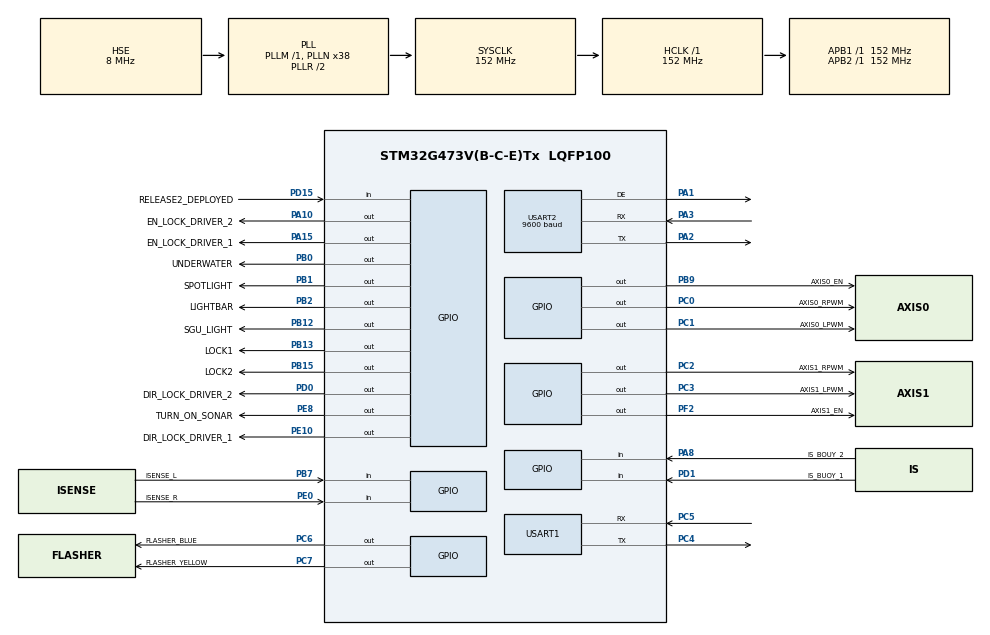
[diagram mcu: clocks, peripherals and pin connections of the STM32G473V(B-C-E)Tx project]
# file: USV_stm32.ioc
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IWDG.Prescaler=IWDG_PRESCALER_32
IWDG.Reload=999
Mcu.Family=STM32G4
Mcu.Name=STM32G473V(B-C-E)Tx
Mcu.Package=LQFP100
NVIC.PriorityGroup=NVIC_PRIORITYGROUP_4
NVIC.USART1_IRQn=true\:0\:0\:false\:false\:true\:true\:true\:true
NVIC.USART2_IRQn=true\:0\:0\:false\:false\:true\:true\:true\:true
PA1.Mode=Hardware Flow Control (RS485)
PA1.Signal=USART2_DE
PA10.GPIO_Label=EN_LOCK_DRIVER_2
PA10.Signal=GPIO_Output
PA15.GPIO_Label=EN_LOCK_DRIVER_1
PA15.GPIO_PuPd=GPIO_NOPULL
PA15.Signal=GPIO_Output
PA2.Mode=Asynchronous
PA2.Signal=USART2_TX
PA3.Mode=Asynchronous
PA3.Signal=USART2_RX
PA8.GPIO_Label=IS_BOUY_2
PA8.Signal=GPIO_Input
PB0.GPIO_Label=UNDERWATER
PB0.Signal=GPIO_Output
PB1.GPIO_Label=SPOTLIGHT
PB1.Signal=GPIO_Output
PB12.GPIO_Label=SGU_LIGHT
PB12.Signal=GPIO_Output
PB13.GPIO_Label=LOCK1
PB13.Signal=GPIO_Output
PB15.GPIO_Label=LOCK2
PB15.Signal=GPIO_Output
PB2.GPIO_Label=LIGHTBAR
PB2.Signal=GPIO_Output
PB7.GPIO_Label=ISENSE_L
PB7.GPIO_PuPd=GPIO_PULLUP
PB7.Signal=GPIO_Input
PB9.GPIO_Label=AXIS0_EN
PB9.Signal=GPIO_Output
PC0.GPIO_Label=AXIS0_RPWM
PC0.Signal=GPIO_Output
PC1.GPIO_Label=AXIS0_LPWM
PC1.Signal=GPIO_Output
PC2.GPIO_Label=AXIS1_RPWM
PC2.Signal=GPIO_Output
PC3.GPIO_Label=AXIS1_LPWM
PC3.Signal=GPIO_Output
PC4.Mode=Asynchronous
PC4.Signal=USART1_TX
PC5.Mode=Asynchronous
PC5.Signal=USART1_RX
PC6.GPIO_Label=FLASHER_BLUE
PC6.Signal=GPIO_Output
PC7.GPIO_Label=FLASHER_YELLOW
PC7.Signal=GPIO_Output
PD0.GPIO_Label=DIR_LOCK_DRIVER_2
PD0.Signal=GPIO_Output
PD1.GPIO_Label=IS_BUOY_1
PD1.GPIO_PuPd=GPIO_PULLUP
PD1.Signal=GPIO_Input
PD15.GPIO_Label=RELEASE2_DEPLOYED
PD15.GPIO_PuPd=GPIO_PULLUP
PD15.Signal=GPIO_Input
PE0.GPIO_Label=ISENSE_R 
PE0.GPIO_PuPd=GPIO_PULLUP
PE0.Signal=GPIO_Input
PE10.GPIO_Label=DIR_LOCK_DRIVER_1
PE10.Signal=GPIO_Output
PE8.GPIO_Label=TURN_ON_SONAR
PE8.GPIO_PuPd=GPIO_NOPULL
PE8.Signal=GPIO_Output
PF0-OSC_IN.Mode=HSE-External-Oscillator
PF0-OSC_IN.Signal=RCC_OSC_IN
PF1-OSC_OUT.Mode=HSE-External-Oscillator
PF1-OSC_OUT.Signal=RCC_OSC_OUT
PF2.GPIO_Label=AXIS1_EN
PF2.GPIO_PuPd=GPIO_NOPULL
PF2.Signal=GPIO_Output
ProjectManager.HeapSize=0x200
ProjectManager.StackSize=0x400
ProjectManager.TargetToolchain=STM32CubeIDE
RCC.ADC12Freq_Value=152000000
RCC.ADC345Freq_Value=152000000
RCC.AHBFreq_Value=152000000
RCC.APB1Freq_Value=152000000
RCC.APB1TimFreq_Value=152000000
RCC.APB2Freq_Value=152000000
RCC.APB2TimFreq_Value=152000000
RCC.CortexFreq_Value=152000000
RCC.EXTERNAL_CLOCK_VALUE=12288000
RCC.HCLKFreq_Value=152000000
RCC.HSE_VALUE=8000000
RCC.HSI48_VALUE=48000000
RCC.HSI_VALUE=16000000
RCC.LSE_VALUE=32768
RCC.PLLN=38
RCC.PLLSourceVirtual=RCC_PLLSOURCE_HSE
RCC.SYSCLKFreq_VALUE=152000000
RCC.SYSCLKSource=RCC_SYSCLKSOURCE_PLLCLK
RCC.USBFreq_Value=152000000
RCC.VCOOutputFreq_Value=304000000
USART1.Parity=PARITY_EVEN
USART1.VirtualMode-Asynchronous=VM_ASYNC
USART1.WordLength=WORDLENGTH_9B
USART2.BaudRate=9600
USART2.VirtualMode-Asynchronous=VM_ASYNC
USART2.VirtualMode-Hardware\ Flow\ Control\ (RS485)=VM_ASYNC
VP_IWDG_VS_IWDG.Mode=IWDG_Activate
VP_SYS_VS_DBSignals.Mode=DisableDeadBatterySignals
board=custom

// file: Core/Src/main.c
/* USER CODE BEGIN Header */
/**
  ******************************************************************************
  * @file           : main.c
  * @brief          : Main program body
  ******************************************************************************
  * @attention
  *
  * Copyright (c) 2026 STMicroelectronics.
  * All rights reserved.
  *
  * This software is licensed under terms that can be found in the LICENSE file
  * in the root directory of this software component.
  * If no LICENSE file comes with this software, it is provided AS-IS.
  *
  ******************************************************************************
  */
/* USER CODE END Header */
#include "main.h"

/* USER CODE BEGIN Includes */
#include "selftest.h"
#include "regfile.h"
#include "fw_update.h"
#include "uart_link.h"
#include "command.h"
#include "inputs.h"
#include "outputs.h"
#include "axis.h"
#include "sched.h"
#include "wdg.h"
#include "release.h"
/* USER CODE END Includes */

IWDG_HandleTypeDef hiwdg;

UART_HandleTypeDef huart1;
UART_HandleTypeDef huart2;

void SystemClock_Config(void);
static void MX_GPIO_Init(void);
static void MX_USART1_UART_Init(void);
static void MX_USART2_UART_Init(void);
static void MX_IWDG_Init(void);

int main(void)
{

  /* MCU Configuration--------------------------------------------------------*/

  /* Reset of all peripherals, Initializes the Flash interface and the Systick. */
  HAL_Init();

  /* Configure the system clock */
  SystemClock_Config();

  /* Initialize all configured peripherals */
  MX_GPIO_Init();
  MX_USART1_UART_Init();
  MX_USART2_UART_Init();
  /* USER CODE BEGIN 2 */
  HAL_Delay(200);                     /* дать терминалу подхватить линию */
  st_puts("USV board1 boot\r\n");
  release_init();
  axis_init();
  regfile_init();
  (void)selftest_run();
  uart_link_init();
  enc_link_init();
  command_init();
  inputs_init();
  outputs_init();
  fw_update_init(HAL_GetTick());
  sched_init();
  wdg_init();
  MX_IWDG_Init();

  /* USER CODE END 2 */

  /* Infinite loop */
  while (1)
  {

    /* USER CODE BEGIN 3 */
    sched_step();
  }
  /* USER CODE END 3 */
}

void SystemClock_Config(void)
{
  RCC_OscInitTypeDef RCC_OscInitStruct = {0};
  RCC_ClkInitTypeDef RCC_ClkInitStruct = {0};

  /** Configure the main internal regulator output voltage
  */
  HAL_PWREx_ControlVoltageScaling(PWR_REGULATOR_VOLTAGE_SCALE1_BOOST);

  /** Initializes the RCC Oscillators according to the specified parameters
  * in the RCC_OscInitTypeDef structure.
  */
  RCC_OscInitStruct.OscillatorType = RCC_OSCILLATORTYPE_LSI|RCC_OSCILLATORTYPE_HSE;
  RCC_OscInitStruct.HSEState = RCC_HSE_ON;
  RCC_OscInitStruct.LSIState = RCC_LSI_ON;
  RCC_OscInitStruct.PLL.PLLState = RCC_PLL_ON;
  RCC_OscInitStruct.PLL.PLLSource = RCC_PLLSOURCE_HSE;
  RCC_OscInitStruct.PLL.PLLM = RCC_PLLM_DIV1;
  RCC_OscInitStruct.PLL.PLLN = 38;
  RCC_OscInitStruct.PLL.PLLP = RCC_PLLP_DIV2;
  RCC_OscInitStruct.PLL.PLLQ = RCC_PLLQ_DIV2;
  RCC_OscInitStruct.PLL.PLLR = RCC_PLLR_DIV2;
  if (HAL_RCC_OscConfig(&RCC_OscInitStruct) != HAL_OK)
  {
    Error_Handler();
  }

  /** Initializes the CPU, AHB and APB buses clocks
  */
  RCC_ClkInitStruct.ClockType = RCC_CLOCKTYPE_HCLK|RCC_CLOCKTYPE_SYSCLK
                              |RCC_CLOCKTYPE_PCLK1|RCC_CLOCKTYPE_PCLK2;
  RCC_ClkInitStruct.SYSCLKSource = RCC_SYSCLKSOURCE_PLLCLK;
  RCC_ClkInitStruct.AHBCLKDivider = RCC_SYSCLK_DIV1;
  RCC_ClkInitStruct.APB1CLKDivider = RCC_HCLK_DIV1;
  RCC_ClkInitStruct.APB2CLKDivider = RCC_HCLK_DIV1;

  if (HAL_RCC_ClockConfig(&RCC_ClkInitStruct, FLASH_LATENCY_4) != HAL_OK)
  {
    Error_Handler();
  }
}

static void MX_IWDG_Init(void)
{

  hiwdg.Instance = IWDG;
  hiwdg.Init.Prescaler = IWDG_PRESCALER_32;
  hiwdg.Init.Window = 4095;
  hiwdg.Init.Reload = 999;
  if (HAL_IWDG_Init(&hiwdg) != HAL_OK)
  {
    Error_Handler();
  }

}

static void MX_USART1_UART_Init(void)
{

  huart1.Instance = USART1;
  huart1.Init.BaudRate = 115200;
  huart1.Init.WordLength = UART_WORDLENGTH_9B;
  huart1.Init.StopBits = UART_STOPBITS_1;
  huart1.Init.Parity = UART_PARITY_EVEN;
  huart1.Init.Mode = UART_MODE_TX_RX;
  huart1.Init.HwFlowCtl = UART_HWCONTROL_NONE;
  huart1.Init.OverSampling = UART_OVERSAMPLING_16;
  huart1.Init.OneBitSampling = UART_ONE_BIT_SAMPLE_DISABLE;
  huart1.Init.ClockPrescaler = UART_PRESCALER_DIV1;
  huart1.AdvancedInit.AdvFeatureInit = UART_ADVFEATURE_NO_INIT;
  if (HAL_UART_Init(&huart1) != HAL_OK)
  {
    Error_Handler();
  }
  if (HAL_UARTEx_SetTxFifoThreshold(&huart1, UART_TXFIFO_THRESHOLD_1_8) != HAL_OK)
  {
    Error_Handler();
  }
  if (HAL_UARTEx_SetRxFifoThreshold(&huart1, UART_RXFIFO_THRESHOLD_1_8) != HAL_OK)
  {
    Error_Handler();
  }
  if (HAL_UARTEx_DisableFifoMode(&huart1) != HAL_OK)
  {
    Error_Handler();
  }

}

static void MX_USART2_UART_Init(void)
{

  huart2.Instance = USART2;
  huart2.Init.BaudRate = 9600;
  huart2.Init.WordLength = UART_WORDLENGTH_8B;
  huart2.Init.StopBits = UART_STOPBITS_1;
  huart2.Init.Parity = UART_PARITY_NONE;
  huart2.Init.Mode = UART_MODE_TX_RX;
  huart2.Init.HwFlowCtl = UART_HWCONTROL_NONE;
  huart2.Init.OverSampling = UART_OVERSAMPLING_16;
  huart2.Init.OneBitSampling = UART_ONE_BIT_SAMPLE_DISABLE;
  huart2.Init.ClockPrescaler = UART_PRESCALER_DIV1;
  huart2.AdvancedInit.AdvFeatureInit = UART_ADVFEATURE_NO_INIT;
  if (HAL_RS485Ex_Init(&huart2, UART_DE_POLARITY_HIGH, 0, 0) != HAL_OK)
  {
    Error_Handler();
  }
  if (HAL_UARTEx_SetTxFifoThreshold(&huart2, UART_TXFIFO_THRESHOLD_1_8) != HAL_OK)
  {
    Error_Handler();
  }
  if (HAL_UARTEx_SetRxFifoThreshold(&huart2, UART_RXFIFO_THRESHOLD_1_8) != HAL_OK)
  {
    Error_Handler();
  }
  if (HAL_UARTEx_DisableFifoMode(&huart2) != HAL_OK)
  {
    Error_Handler();
  }

}

static void MX_GPIO_Init(void)
{
  GPIO_InitTypeDef GPIO_InitStruct = {0};

  /* GPIO Ports Clock Enable */
  __HAL_RCC_GPIOF_CLK_ENABLE();
  __HAL_RCC_GPIOC_CLK_ENABLE();
  __HAL_RCC_GPIOA_CLK_ENABLE();
  __HAL_RCC_GPIOB_CLK_ENABLE();
  __HAL_RCC_GPIOE_CLK_ENABLE();
  __HAL_RCC_GPIOD_CLK_ENABLE();

  /*Configure GPIO pin Output Level */
  HAL_GPIO_WritePin(GPIOC, AXIS0_RPWM_Pin|AXIS0_LPWM_Pin|AXIS1_RPWM_Pin|AXIS1_LPWM_Pin
                          |FLASHER_BLUE_Pin|FLASHER_YELLOW_Pin, GPIO_PIN_RESET);

  /*Configure GPIO pin Output Level */
  HAL_GPIO_WritePin(AXIS1_EN_GPIO_Port, AXIS1_EN_Pin, GPIO_PIN_RESET);

  /*Configure GPIO pin Output Level */
  HAL_GPIO_WritePin(GPIOB, UNDERWATER_Pin|SPOTLIGHT_Pin|LIGHTBAR_Pin|SGU_LIGHT_Pin
                          |LOCK1_Pin|LOCK2_Pin|AXIS0_EN_Pin, GPIO_PIN_RESET);

  /*Configure GPIO pin Output Level */
  HAL_GPIO_WritePin(GPIOE, TURN_ON_SONAR_Pin|DIR_LOCK_DRIVER_1_Pin, GPIO_PIN_RESET);

  /*Configure GPIO pin Output Level */
  HAL_GPIO_WritePin(GPIOA, EN_LOCK_DRIVER_2_Pin|EN_LOCK_DRIVER_1_Pin, GPIO_PIN_RESET);

  /*Configure GPIO pin Output Level */
  HAL_GPIO_WritePin(DIR_LOCK_DRIVER_2_GPIO_Port, DIR_LOCK_DRIVER_2_Pin, GPIO_PIN_RESET);

  /*Configure GPIO pins : AXIS0_RPWM_Pin AXIS0_LPWM_Pin AXIS1_RPWM_Pin AXIS1_LPWM_Pin
                           FLASHER_BLUE_Pin FLASHER_YELLOW_Pin */
  GPIO_InitStruct.Pin = AXIS0_RPWM_Pin|AXIS0_LPWM_Pin|AXIS1_RPWM_Pin|AXIS1_LPWM_Pin
                          |FLASHER_BLUE_Pin|FLASHER_YELLOW_Pin;
  GPIO_InitStruct.Mode = GPIO_MODE_OUTPUT_PP;
  GPIO_InitStruct.Pull = GPIO_NOPULL;
  GPIO_InitStruct.Speed = GPIO_SPEED_FREQ_LOW;
  HAL_GPIO_Init(GPIOC, &GPIO_InitStruct);

  /*Configure GPIO pin : AXIS1_EN_Pin */
  GPIO_InitStruct.Pin = AXIS1_EN_Pin;
  GPIO_InitStruct.Mode = GPIO_MODE_OUTPUT_PP;
  GPIO_InitStruct.Pull = GPIO_NOPULL;
  GPIO_InitStruct.Speed = GPIO_SPEED_FREQ_LOW;
  HAL_GPIO_Init(AXIS1_EN_GPIO_Port, &GPIO_InitStruct);

  /*Configure GPIO pins : UNDERWATER_Pin SPOTLIGHT_Pin LIGHTBAR_Pin SGU_LIGHT_Pin
                           LOCK1_Pin LOCK2_Pin AXIS0_EN_Pin */
  GPIO_InitStruct.Pin = UNDERWATER_Pin|SPOTLIGHT_Pin|LIGHTBAR_Pin|SGU_LIGHT_Pin
                          |LOCK1_Pin|LOCK2_Pin|AXIS0_EN_Pin;
  GPIO_InitStruct.Mode = GPIO_MODE_OUTPUT_PP;
  GPIO_InitStruct.Pull = GPIO_NOPULL;
  GPIO_InitStruct.Speed = GPIO_SPEED_FREQ_LOW;
  HAL_GPIO_Init(GPIOB, &GPIO_InitStruct);

  /*Configure GPIO pins : TURN_ON_SONAR_Pin DIR_LOCK_DRIVER_1_Pin */
  GPIO_InitStruct.Pin = TURN_ON_SONAR_Pin|DIR_LOCK_DRIVER_1_Pin;
  GPIO_InitStruct.Mode = GPIO_MODE_OUTPUT_PP;
  GPIO_InitStruct.Pull = GPIO_NOPULL;
  GPIO_InitStruct.Speed = GPIO_SPEED_FREQ_LOW;
  HAL_GPIO_Init(GPIOE, &GPIO_InitStruct);

  /*Configure GPIO pins : RELEASE2_DEPLOYED_Pin IS_BUOY_1_Pin */
  GPIO_InitStruct.Pin = RELEASE2_DEPLOYED_Pin|IS_BUOY_1_Pin;
  GPIO_InitStruct.Mode = GPIO_MODE_INPUT;
  GPIO_InitStruct.Pull = GPIO_PULLUP;
  HAL_GPIO_Init(GPIOD, &GPIO_InitStruct);

  /*Configure GPIO pin : IS_BOUY_2_Pin */
  GPIO_InitStruct.Pin = IS_BOUY_2_Pin;
  GPIO_InitStruct.Mode = GPIO_MODE_INPUT;
  GPIO_InitStruct.Pull = GPIO_NOPULL;
  HAL_GPIO_Init(IS_BOUY_2_GPIO_Port, &GPIO_InitStruct);

  /*Configure GPIO pins : EN_LOCK_DRIVER_2_Pin EN_LOCK_DRIVER_1_Pin */
  GPIO_InitStruct.Pin = EN_LOCK_DRIVER_2_Pin|EN_LOCK_DRIVER_1_Pin;
  GPIO_InitStruct.Mode = GPIO_MODE_OUTPUT_PP;
  GPIO_InitStruct.Pull = GPIO_NOPULL;
  GPIO_InitStruct.Speed = GPIO_SPEED_FREQ_LOW;
  HAL_GPIO_Init(GPIOA, &GPIO_InitStruct);

  /*Configure GPIO pin : DIR_LOCK_DRIVER_2_Pin */
  GPIO_InitStruct.Pin = DIR_LOCK_DRIVER_2_Pin;
  GPIO_InitStruct.Mode = GPIO_MODE_OUTPUT_PP;
  GPIO_InitStruct.Pull = GPIO_NOPULL;
  GPIO_InitStruct.Speed = GPIO_SPEED_FREQ_LOW;
  HAL_GPIO_Init(DIR_LOCK_DRIVER_2_GPIO_Port, &GPIO_InitStruct);

  /*Configure GPIO pin : ISENSE_L_Pin */
  GPIO_InitStruct.Pin = ISENSE_L_Pin;
  GPIO_InitStruct.Mode = GPIO_MODE_INPUT;
  GPIO_InitStruct.Pull = GPIO_PULLUP;
  HAL_GPIO_Init(ISENSE_L_GPIO_Port, &GPIO_InitStruct);

  /*Configure GPIO pin : ISENSE_R_Pin */
  GPIO_InitStruct.Pin = ISENSE_R_Pin;
  GPIO_InitStruct.Mode = GPIO_MODE_INPUT;
  GPIO_InitStruct.Pull = GPIO_PULLUP;
  HAL_GPIO_Init(ISENSE_R_GPIO_Port, &GPIO_InitStruct);

}

void Error_Handler(void)
{
  __disable_irq();
  while (1)
  {
  }
}
